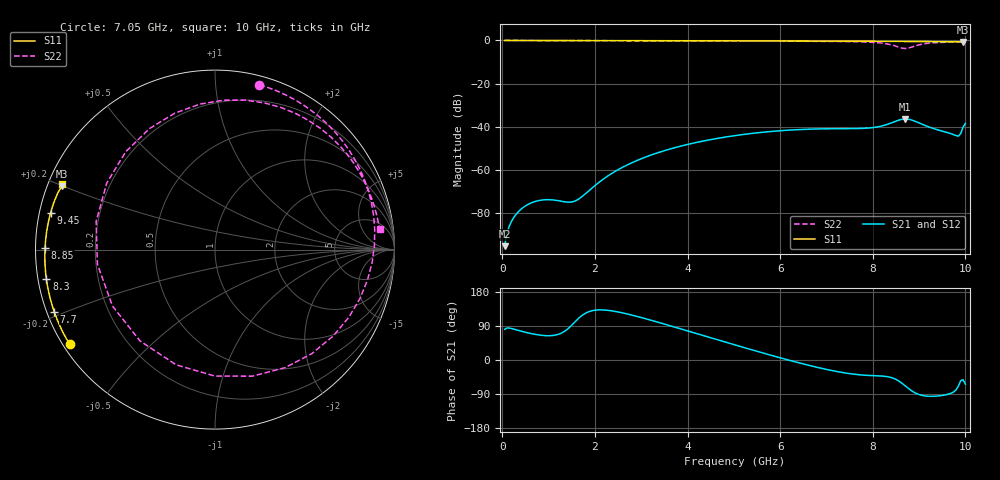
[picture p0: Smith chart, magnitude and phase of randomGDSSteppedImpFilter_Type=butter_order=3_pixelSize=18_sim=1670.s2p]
! freq	dB(S11)	phase(S11)	dB(S12)	phase(S12)
!  dB(S21)	phase(S21)	dB(S22)	phase(S22)
!S-par simulation data
#  GHz  S  DB  R 50
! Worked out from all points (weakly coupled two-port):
!   200 points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, 50 MHz to 10 GHz, reference 50 ohm
!   highest |S21| = -36.35 dB at 8.7 GHz (marker M1); lowest = -95.2 dB at 50 MHz (marker M2)
!   lowest |S11| = -0.7 dB at 9.95 GHz (marker M3), VSWR 25.50, Z = 2.04 + j9.92 ohm
!   |S11| at or under -10 dB: nowhere
!   |S22| runs from -3.7 to 0.0 dB; largest |S21 - S12| = 0
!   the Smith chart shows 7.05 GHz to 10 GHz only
!   S11 on the Smith chart (normalised r, x): 7.05 GHz: 0.02, -0.30; 7.7 GHz: 0.02, -0.19; 8.3 GHz: 0.02, -0.09; 8.85 GHz: 0.03, +0.01; 9.45 GHz: 0.03, +0.11; 10 GHz: 0.04, +0.21
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0.05  -0.00 -1.2  -95.24 80.9  -95.24 80.9  -0.00 -2.4
0.95  -0.03 -22.5  -73.72 64.2  -73.72 64.2  -0.06 -44.5
1.75  -0.05 -40.9  -71.79 120.0  -71.79 120.0  -0.10 -79.6
2.5  -0.07 -57.6  -59.85 126.8  -59.85 126.8  -0.13 -109.8
3.4  -0.10 -76.8  -51.69 98.4  -51.69 98.4  -0.16 -143.3
4.25  -0.13 -94.1  -46.95 67.7  -46.95 67.7  -0.20 -173.5
5.05  -0.17 -109.7  -43.98 38.9  -43.98 38.9  -0.25 157.8
6.7  -0.27 -140.5  -41.02 -16.5  -41.02 -16.5  -0.39 91.7
7.05  -0.30 -146.9  -40.88 -26.2  -40.88 -26.2  -0.43 74.9
7.7  -0.35 -158.9  -40.77 -38.9  -40.77 -38.9  -0.63 36.9
8.05  -0.39 -165.4  -40.21 -41.5  -40.21 -41.5  -0.95 7.0
8.3  -0.41 -170.1  -38.96 -43.7  -38.96 -43.7  -1.56 -26.9
8.35  -0.42 -171.1  -38.59 -44.8  -38.59 -44.8  -1.77 -36.2
8.55  -0.44 -174.9  -36.97 -54.5  -36.97 -54.5  -3.04 -90.0
8.7  -0.46 -177.7  -36.35 -68.1  -36.35 -68.1  -3.72 -151.2
8.85  -0.47 179.4  -36.91 -82.1  -36.91 -82.1  -3.00 148.4
8.95  -0.49 177.4  -37.73 -88.8  -37.73 -88.8  -2.31 118.4
9.1  -0.50 174.5  -39.10 -94.3  -39.10 -94.3  -1.58 86.7
9.45  -0.55 167.5  -41.69 -94.4  -41.69 -94.4  -0.91 44.2
9.85  -0.64 159.2  -44.29 -68.6  -44.29 -68.6  -0.73 15.5
9.95  -0.68 157.5  -40.07 -51.9  -40.07 -51.9  -0.70 9.8
10  -0.65 156.6  -38.40 -63.8  -38.40 -63.8  -0.69 7.0
